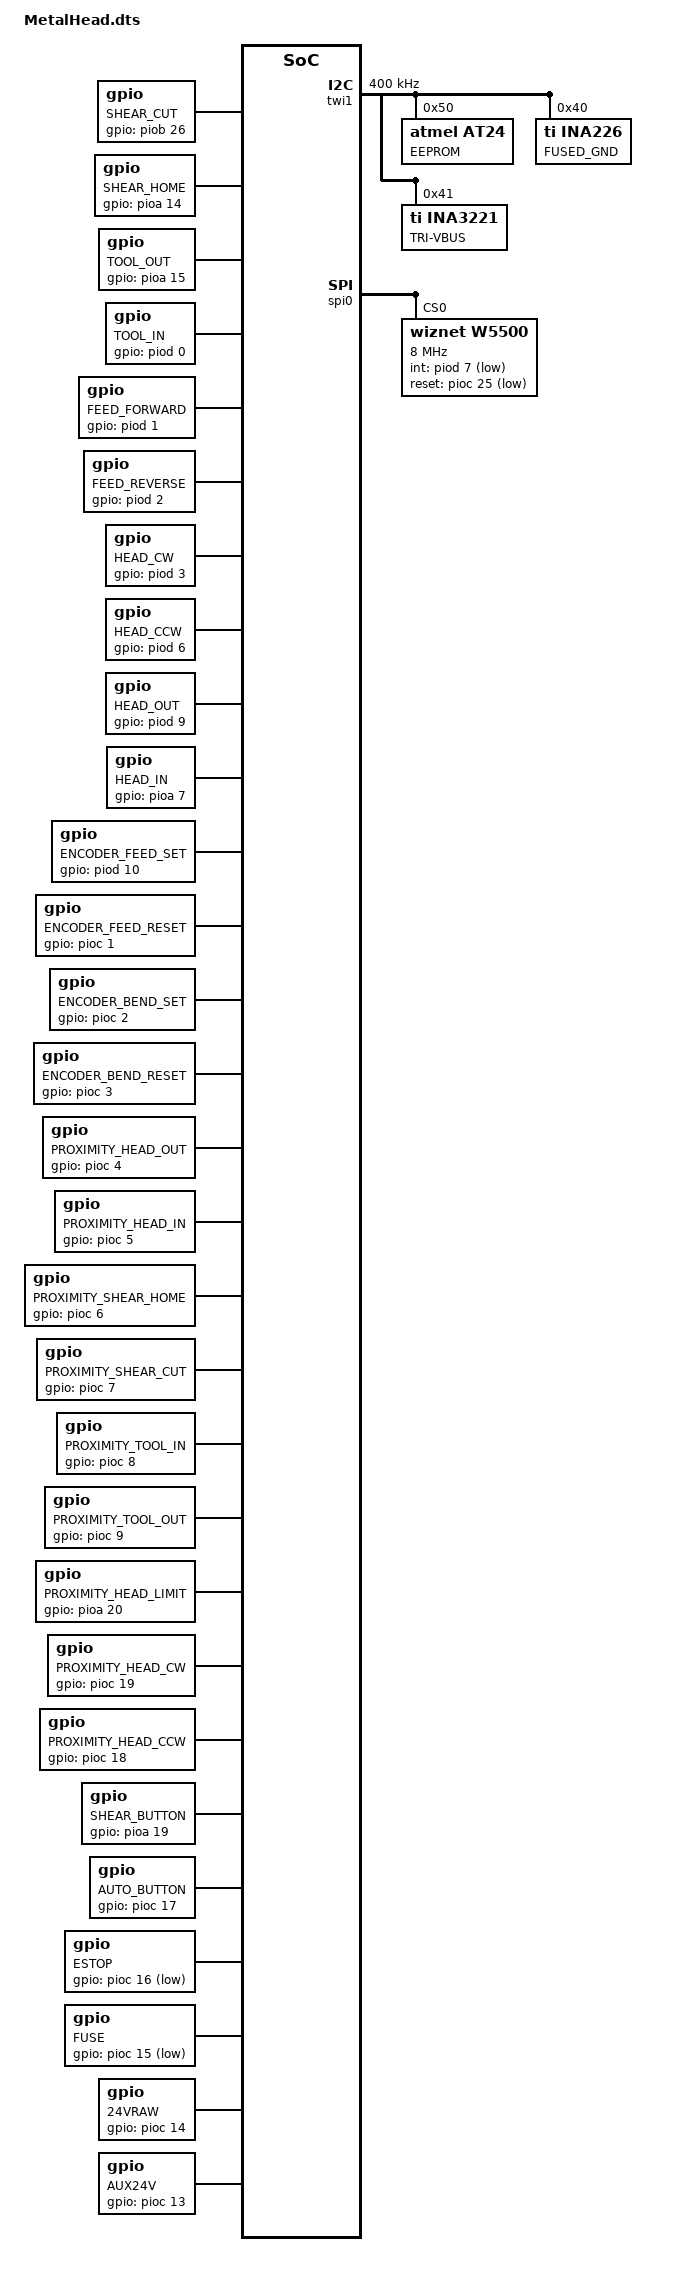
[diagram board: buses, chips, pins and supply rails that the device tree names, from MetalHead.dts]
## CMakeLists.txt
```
cmake_minimum_required(VERSION 3.13.1)
set(DTC_OVERLAY_FILE "MetalHead.dts")
find_package(Zephyr REQUIRED HINTS $ENV{ZEPHYR_BASE})
project(interface-board-zephyr)

list(APPEND CMAKE_MODULE_PATH ${ZEPHYR_BASE}/modules/nanopb)
include(nanopb)

FILE(GLOB proto_sources src/*.proto)
zephyr_nanopb_sources(app ${proto_sources})
add_dependencies(app nanopb_generated_headers)

FILE(GLOB app_sources src/*.c)
target_sources(app PRIVATE ${app_sources})
```

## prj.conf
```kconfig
# General
CONFIG_ENTROPY_GENERATOR=y
CONFIG_TEST_RANDOM_GENERATOR=y

# Networking
CONFIG_NETWORKING=y
CONFIG_ETH_DRIVER=y
CONFIG_ETH_W5500=y
CONFIG_NET_L2_ETHERNET=y
CONFIG_NET_IPV4=y
CONFIG_NET_MGMT=y
CONFIG_NET_MGMT_EVENT=y
CONFIG_NET_L2_ETHERNET_MGMT=y
CONFIG_NET_LOG=y
CONFIG_NET_ARP=y
CONFIG_DNS_RESOLVER=y
CONFIG_NET_SOCKETS=y
CONFIG_NET_UDP=y
CONFIG_POSIX_API=y
CONFIG_NET_TCP=y
#CONFIG_NET_CONFIG_NEED_IPV4=y
CONFIG_NET_CONNECTION_MANAGER=y
#CONFIG_NET_CONFIG_AUTO_INIT=y
#CONFIG_NET_CONFIG_MY_IPV4_ADDR="192.168.1.101"
#CONFIG_NET_CONFIG_MY_IPV4_NETMASK="255.255.255.0"
CONFIG_NET_CONFIG_SETTINGS=y
#CONFIG_NET_SOCKETS_POSIX_NAMES=y
#CONFIG_NET_PKT_RX_STACK_SIZE=1024
#CONFIG_NET_PKT_TX_STACK_SIZE=1024
CONFIG_NET_RX_STACK_SIZE=1024
CONFIG_NET_TX_STACK_SIZE=1024
CONFIG_NET_TC_TX_COUNT=0

# Misc
CONFIG_GPIO=y
CONFIG_LOG=y
CONFIG_LOG_DEFAULT_LEVEL=3
CONFIG_SYS_HASH_FUNC32=y
CONFIG_SPI=y
CONFIG_ARM_MPU=n
CONFIG_HW_STACK_PROTECTION=n
CONFIG_INIT_STACKS=y
CONFIG_SLIP_STATISTICS=n
CONFIG_EEPROM=y
CONFIG_EEPROM_AT24=y
CONFIG_I2C=y
#CONFIG_SHELL=y
#CONFIG_I2C_SHELL=y
CONFIG_SENSOR=y
CONFIG_CBPRINTF_FP_SUPPORT=y
CONFIG_NANOPB=y
CONFIG_INA226_VSHUNT=y
#CONFIG_MAIN_STACK_SIZE=2048
```

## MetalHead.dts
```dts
/ {
	aliases {
		eeprom-0 = &at24_eeprom_0;
	};

	// Solenoids
	shear_cut: shear_cut {
		compatible = "gpio";
		gpios = <&piob 26 0>;
		label = "SHEAR_CUT";
	};
	shear_home: shear_home {
		compatible = "gpio";
		gpios = <&pioa 14 0>;
		label = "SHEAR_HOME";
	};
	tool_out: tool_out {
		compatible = "gpio";
		gpios = <&pioa 15 0>;
		label = "TOOL_OUT";
	};
	tool_in: tool_in {
		compatible = "gpio";
		gpios = <&piod 0 0>;
		label = "TOOL_IN";
	};
	feed_forward: feed_forward {
		compatible = "gpio";
		gpios = <&piod 1 0>;
		label = "FEED_FORWARD";
	};
	feed_reverse: feed_reverse {
		compatible = "gpio";
		gpios = <&piod 2 0>;
		label = "FEED_REVERSE";
	};
	head_cw: head_cw {
		compatible = "gpio";
		gpios = <&piod 3 0>;
		label = "HEAD_CW";
	};
	head_ccw: head_ccw {
		compatible = "gpio";
		gpios = <&piod 6 0>;
		label = "HEAD_CCW";
	};
	head_out: head_out {
		compatible = "gpio";
		gpios = <&piod 9 0>;
		label = "HEAD_OUT";
	};
	head_in: head_in {
		compatible = "gpio";
		gpios = <&pioa 7 0>;
		label = "HEAD_IN";
	};

	// Encoders
	encoder_feed_set: encoder_feed_set {
		compatible = "gpio";
		gpios = <&piod 10 0>;
		label = "ENCODER_FEED_SET";
	};
	encoder_feed_reset: encoder_feed_reset {
		compatible = "gpio";
		gpios = <&pioc 1 0>;
		label = "ENCODER_FEED_RESET";
	};
	encoder_bend_set: encoder_bend_set {
		compatible = "gpio";
		gpios = <&pioc 2 0>;
		label = "ENCODER_BEND_SET";
	};
	encoder_bend_reset: encoder_bend_reset {
		compatible = "gpio";
		gpios = <&pioc 3 0>;
		label = "ENCODER_BEND_RESET";
	};

	// Proximity sensors
	proximity_head_out: proximity_head_out {
		compatible = "gpio";
		gpios = <&pioc 4 0>;
		label = "PROXIMITY_HEAD_OUT";
	};
	proximity_head_in: proximity_head_in {
		compatible = "gpio";
		gpios = <&pioc 5 0>;
		label = "PROXIMITY_HEAD_IN";
	};
	proximity_shear_home: proximity_shear_home {
		compatible = "gpio";
		gpios = <&pioc 6 0>;
		label = "PROXIMITY_SHEAR_HOME";
	};
	proximity_shear_cut: proximity_shear_cut {
		compatible = "gpio";
		gpios = <&pioc 7 0>;
		label = "PROXIMITY_SHEAR_CUT";
	};
	proximity_tool_in: proximity_tool_in {
		compatible = "gpio";
		gpios = <&pioc 8 0>;
		label = "PROXIMITY_TOOL_IN";
	};
	proximity_tool_out: proximity_tool_out {
		compatible = "gpio";
		gpios = <&pioc 9 0>;
		label = "PROXIMITY_TOOL_OUT";
	};
	proximity_head_limit: proximity_head_limit {
		compatible = "gpio";
		gpios = <&pioa 20 0>;
		label = "PROXIMITY_HEAD_LIMIT";
	};
	proximity_head_cw: proximity_head_cw {
		compatible = "gpio";
		gpios = <&pioc 19 0>;
		label = "PROXIMITY_HEAD_CW";
	};
	proximity_head_ccw: proximity_head_ccw {
		compatible = "gpio";
		gpios = <&pioc 18 0>;
		label = "PROXIMITY_HEAD_CCW";
	};

	// Buttons
	shear_button: shear_button {
		compatible = "gpio";
		gpios = <&pioa 19 0>;
		label = "SHEAR_BUTTON";
	};
	auto_button: auto_button {
		compatible = "gpio";
		gpios = <&pioc 17 0>;
		label = "AUTO_BUTTON";
	};

	// Auxillary
	estop: estop {
		compatible = "gpio";
		gpios = <&pioc 16 1>; // The 1 will invert the active logic
		label = "ESTOP";
	};
	fuse: fuse {
		compatible = "gpio";
		gpios = <&pioc 15 1>; // The 1 will invert the active logic
		label = "FUSE";
	};

	// Power
	vraw24: vraw24 {
		compatible = "gpio";
		gpios = <&pioc 14 0>;
		label = "24VRAW";
	};
	aux24v: aux24v {
		compatible = "gpio";
		gpios = <&pioc 13 0>;
		label = "AUX24V";
	};
};

&twi1 {
	status = "okay";
	clock-frequency = <I2C_BITRATE_FAST>;
	at24_eeprom_0: eeprom@50 {
		compatible = "atmel,at24";
		reg = <0x50>;
		size = <32768>;
		pagesize = <64>;
		address-width = <16>;
		timeout = <5>;
		label = "EEPROM";
	};
	ina226_0: ina226@40 {
		compatible = "ti,ina226";
		reg = <0x40>; // I2C address
		label = "FUSED_GND";
		avg-count = <256>;
		rshunt-micro-ohms = <2000>; // Example: 2 mOhm shunt
		current-lsb-microamps = <457>;  // Example: 457 uA/LSB (15A)
		// Other configurations like bus-voltage-resistor etc.
	};
	ina3221_0: ina3221@41 {
		compatible = "ti,ina3221";
		reg = <0x41>; // I2C address
		label = "TRI-VBUS";
		conv-time-shunt = <4>; // 1.1mS
		conv-time-bus = <4>; // 1.1mS
		avg-mode = <0>; // 1 sample
		enable-channel = <1 1 1>; // Channels 1-3
		shunt-resistors = <2 2 2>; // mOhms for channels 1-3
	};
};

&spi0 {
	w5500: w5500@0 {
		compatible = "wiznet,w5500";
		reg = <0>; // Chip select line
		spi-max-frequency = <8000000>; // Example frequency
		int-gpios = <&piod 7 GPIO_ACTIVE_LOW>; // Replace with your GPIO port and pin
		reset-gpios = <&pioc 25 GPIO_ACTIVE_LOW>; // Replace with your GPIO port and pin
	};
};
```

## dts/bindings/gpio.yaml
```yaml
description: GPIO pin to switch a power output on or off. GPIO interrupt pin.

compatible: "gpio"

properties:
  gpios:
    type: phandle-array
    required: true
    description: "The GPIO connected to the gate driver for a MOSFET.
    The GPIO connected indirectly to the output of a sensor."
  label:
    type: string
    description: "Human-readable label"
    required: true
```

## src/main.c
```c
// MetalHead - Opensource Firmware & Software For The 85V Automatic Stirrup Bender
// Copyright (C) 2024-2025 John Gilcreast (johngilcreast@gmail.com)
// Copyright (C) 2024-2025 Connor McMillan (connor@mcmillan.website)
//
// This program is free software: you can redistribute it and/or modify
// it under the terms of the GNU General Public License as published by
// the Free Software Foundation, either version 3 of the License, or
// (at your option) any later version.
//
// This program is distributed in the hope that it will be useful,
// but WITHOUT ANY WARRANTY; without even the implied warranty of
// MERCHANTABILITY or FITNESS FOR A PARTICULAR PURPOSE.  See the
// GNU General Public License for more details.
//
// You should have received a copy of the GNU General Public License
// along with this program.  If not, see <https://www.gnu.org/licenses/>.

#include <zephyr/devicetree.h>
#include <zephyr/drivers/gpio.h>
#include <zephyr/kernel.h>
#include <stdio.h>
#include <zephyr/logging/log.h>
#include <zephyr/sys/hash_map.h>
#include <zephyr/net/net_if.h>
#include <zephyr/net/net_core.h>
#include <zephyr/net/net_context.h>
#include <zephyr/net/ethernet.h>
#include <zephyr/net/ethernet_mgmt.h>
#include <zephyr/net/net_mgmt.h>
#include <zephyr/net/socket.h>
#include <pb_encode.h>
#include <zephyr/drivers/eeprom.h>
#include <zephyr/random/random.h>
#include <zephyr/drivers/sensor.h>
#include <zephyr/posix/fcntl.h>

// Register logging interface
LOG_MODULE_REGISTER(MetalHead, LOG_LEVEL_DBG);

// Custom includes
#include "threads.h"
#include "gpio_dt_specs.h"
#include "queues.h"
#include "gpio_pin_t.h"
#include "gpio_state_t.h"
#include "init_current_mon.h"
#include "async_tcp_server.h"
#include "update_status_indicators.h"
#include "gpio_int_handler.h"
#include "interface.h"
#include "init_gpio.h"
#include "init_eeprom.h"
#include "init_net.h"
#include "shape_processor_thread.h"
#include "version.h"


int main(void)
{
  LOG_INF("MetalHead Interface Board Firmware v%d.%d.%d", MAJOR_VERSION, MINOR_VERSION, PATCH_VERSION);
  LOG_INF("Build date: " __DATE__ " " __TIME__);
  LOG_INF("Copyright: Connor McMillan & John Gilcreast");
  LOG_INF("Project homepage: https://github.com/JGilcreast/MetalHead");

  // Check if led is ready
  if (!device_is_ready(led_builtin.port))
    LOG_ERR("Builtin LED is not ready!");

  // configure led gpio pin as output and set initial value as Logical Active
  if (gpio_pin_configure_dt(&led_builtin, GPIO_OUTPUT_INACTIVE) < 0)
    LOG_ERR("Failed to configure LED as GPIO_OUTPUT_INACTIVE!");

  init_eeprom();
  init_gpio();
  init_net();
  init_current_monitors();
  init_shape_processor();
}
```

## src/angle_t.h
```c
// MetalHead - Opensource Firmware & Software For The 85V Automatic Stirrup Bender
// Copyright (C) 2024-2025 John Gilcreast (johngilcreast@gmail.com)
// Copyright (C) 2025 Connor McMillan (connor@mcmillan.website)
//
// interface program is free software: you can redistribute it and/or modify
// it under the terms of the GNU General Public License as published by
// the Free Software Foundation, either version 3 of the License, or
// (at your option) any later version.
//
// interface program is distributed in the hope that it will be useful,
// but WITHOUT ANY WARRANTY; without even the implied warranty of
// MERCHANTABILITY or FITNESS FOR A PARTICULAR PURPOSE.  See the
// GNU General Public License for more details.
//
// You should have received a copy of the GNU General Public License
// along with interface program.  If not, see <https://www.gnu.org/licenses/>.

#ifndef ANGLE_T_H
#define ANGLE_T_H
#include "bend_direction_t.h"
struct angle_t {
  // Another angle can proceed after this angle
  struct angle_t *angle;
  // An angle has a preceding length before the rebar is bent
  uint16_t length;
  // An angle must be bent
  uint16_t degrees; // 0 - 360 can fit into an uint16_t
  // Is it CW or CCW?
  enum bend_direction_t direction;
  // Compensation programmed per line
  uint8_t length_compensation; // Do we need more than a representation from 0 - 255 (uint8_t)?
  // Bend compensation programmed per line
  uint8_t bend_compensation; // // Do we need more than a representation from 0 - 255 (uint8_t)
};

#endif //ANGLE_T_H
```

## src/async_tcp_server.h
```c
// MetalHead - Opensource Firmware & Software For The 85V Automatic Stirrup Bender
// Copyright (C) 2025 Connor McMillan (connor@mcmillan.website)
//
// This program is free software: you can redistribute it and/or modify
// it under the terms of the GNU General Public License as published by
// the Free Software Foundation, either version 3 of the License, or
// (at your option) any later version.
//
// This program is distributed in the hope that it will be useful,
// but WITHOUT ANY WARRANTY; without even the implied warranty of
// MERCHANTABILITY or FITNESS FOR A PARTICULAR PURPOSE.  See the
// GNU General Public License for more details.
//
// You should have received a copy of the GNU General Public License
// along with this program.  If not, see <https://www.gnu.org/licenses/>.

#ifndef ASYNC_TCP_SERVER_H
#define ASYNC_TCP_SERVER_H
#include "init_eeprom.h"
#include "version.h"
#include "src/hmi_client_msg.pb.h"
#include "src/hmi_server_msg_t.pb.h"


hmi_server_message hmi_server_msg = hmi_server_message_init_zero;
hmi_server_message hmi_server_resp = hmi_server_message_init_zero;


/* For Zephyr, keep max number of fd's in sync with max poll() capacity */
#define NUM_FDS 5

/* Number of simultaneous client connections will be NUM_FDS be minus 2 */
struct pollfd pollfds[NUM_FDS];
int pollnum;

hmi_client_message hmi_client_msg;
hmi_server_message hmi_server_response;

#define fatal(msg, ...) { \
LOG_ERR("Error: %s %s", msg, ##__VA_ARGS__); \
}

void error_no(char str[], int error) {
	if (error == EAGAIN)
		LOG_ERR("%s: EAGAIN/EWOULDBLOCK", str);
	else if (error == EBADF)
		LOG_ERR("%s: EBADF", str);
	else if (error == ECONNRESET)
			LOG_ERR("%s: ECONNRESET", str);
	else if (error == EINTR)
			LOG_ERR("%s: EINTR", str);
	else if (error == EINVAL)
			LOG_ERR("%s: EINVAL", str);
	else if (error == ENOTCONN)
			LOG_ERR("%s: ENOTCONN", str);
	else if (error == ENOTSOCK)
			LOG_ERR("%s: ENOTSOCK", str);
	else if (error == EOPNOTSUPP)
			LOG_ERR("%s: EOPNOTSUPP", str);
	else if (error == ETIMEDOUT)
			LOG_ERR("%s: ETIMEDOUT", str);
	else if (error == EIO)
			LOG_ERR("%s: EIO", str);
	else if (error == ENOBUFS)
			LOG_ERR("%s: ENOBUFS", str);
	else if (error == ENOMEM)
			LOG_ERR("%s: ENOMEM", str);
}

static void setblocking(int fd, bool val)
{
  int fl, res;

  fl = fcntl(fd, F_GETFL, 0);
  if (fl == -1) {
    LOG_ERR("fcntl(F_GETFL): %d", errno);
  }

  if (val) {
    fl &= ~O_NONBLOCK;
  } else {
    fl |= O_NONBLOCK;
  }

  res = fcntl(fd, F_SETFL, fl);
  if (fl == -1) {
    LOG_ERR("fcntl(F_SETFL): %d", errno);
  }
}

int pollfds_add(int fd)
{
  int i;
  if (pollnum < NUM_FDS) {
    i = pollnum++;
  } else {
    for (i = 0; i < NUM_FDS; i++) {
      if (pollfds[i].fd < 0) {
        goto found;
      }
    }

    return -1;
  }

  found:
    pollfds[i].fd = fd;
  pollfds[i].events = POLLIN;

  return 0;
}

void pollfds_del(int fd)
{
  for (int i = 0; i < pollnum; i++) {
    if (pollfds[i].fd == fd) {
      pollfds[i].fd = -1;
      break;
    }
  }
}

void async_tcp_server_thread() {
	int res;
	static int counter;
	int num_servs = 0;
	int sock;
	struct sockaddr_in server_addr = {
		.sin_family = AF_INET,
		.sin_port = htons(3682),
		.sin_addr = {
			.s_addr = htonl(INADDR_ANY),
		},
	};

	sock = socket(AF_INET, SOCK_STREAM, IPPROTO_TCP);
	if (sock < 0) {
		error_no("socket", errno);
		exit(1);
	}

	res = bind(sock, (struct sockaddr *)&server_addr, sizeof(server_addr));
	if (res == -1) {
		error_no("bind", errno);
	}
	num_servs++;

	setblocking(sock, false);
	listen(sock, 5);
	pollfds_add(sock);

	// Bytes to send to the HMI are stored here
	uint8_t buffer[hmi_server_message_size];
	// Connect the stream to the buffer
	pb_ostream_t ostream = pb_ostream_from_buffer(buffer, sizeof(buffer));

	// Static members of hmi_server_msg that only to be set once on each start
	hmi_server_msg.which_payload = hmi_server_message_hmi_client_msg_tag;
	hmi_server_msg.payload.hmi_client_msg.boot_count = eeprom_data.boot_count;
	hmi_server_msg.payload.hmi_client_msg.serial_number.size = sizeof(eeprom_data.serial_number);
	memcpy(&hmi_server_msg.payload.hmi_client_msg.serial_number.bytes, &eeprom_data.serial_number,
		sizeof(hmi_server_msg.payload.hmi_client_msg.serial_number.bytes));
	hmi_server_msg.payload.hmi_client_msg.mac_address.size = sizeof(eeprom_data.mac_address);
	memcpy(&hmi_server_msg.payload.hmi_client_msg.mac_address.bytes, &eeprom_data.mac_address,
		sizeof(hmi_server_msg.payload.hmi_client_msg.mac_address.bytes));
	hmi_server_msg.payload.hmi_client_msg.port = eeprom_data.port;
	hmi_server_msg.payload.hmi_client_msg.ip_address.size = sizeof(eeprom_data.ip_address);
	memcpy(&hmi_server_msg.payload.hmi_client_msg.ip_address.bytes, &eeprom_data.ip_address,
		sizeof(hmi_server_msg.payload.hmi_client_msg.ip_address.bytes));
	hmi_server_msg.payload.hmi_client_msg.subnet_mask.size = sizeof(eeprom_data.subnet_mask);
	memcpy(&hmi_server_msg.payload.hmi_client_msg.subnet_mask.bytes, &eeprom_data.subnet_mask,
		sizeof(hmi_server_msg.payload.hmi_client_msg.subnet_mask.bytes));
	hmi_server_msg.payload.hmi_client_msg.hmi_ip_address.size = sizeof(eeprom_data.hmi_ip_address);
	memcpy(&hmi_server_msg.payload.hmi_client_msg.hmi_ip_address.bytes, &eeprom_data.hmi_ip_address,
		sizeof(hmi_server_msg.payload.hmi_client_msg.hmi_ip_address.bytes));
	hmi_server_msg.payload.hmi_client_msg.hmi_port = eeprom_data.hmi_port;
	hmi_server_msg.payload.hmi_client_msg.action = action_t_ACTION_NONE;
	hmi_server_msg.payload.hmi_client_msg.state = state_t_STATE_IDLE;
	hmi_server_msg.payload.hmi_client_msg.major_version = MAJOR_VERSION;
	hmi_server_msg.payload.hmi_client_msg.minor_version = MINOR_VERSION;
	hmi_server_msg.payload.hmi_client_msg.patch_version = PATCH_VERSION;
	// If any of these two change during operation, GPIO interrupt handler will take care of updating these.
	hmi_server_msg.payload.hmi_client_msg.vraw24 = gpio_pin_get_dt(&vraw24_spec);
	hmi_server_msg.payload.hmi_client_msg.aux24v = gpio_pin_get_dt(&aux24v_spec);

	// Set the response message
	hmi_server_response.which_payload = hmi_server_message_hmi_server_response_tag;
	hmi_server_response.payload.hmi_server_response = hmi_server_response_t_RESPONSE_UNKNOWN;

	LOG_INF("Starting async server on port %d", eeprom_data.port);

	// Our local copy of the server message to the HMI
	hmi_server_message hmi_server_msg_cpy;

	while (1) {
		struct sockaddr_storage client_addr;
		socklen_t client_addr_len = sizeof(client_addr);
		char addr_str[32];

		res = poll(pollfds, pollnum, 50);
		if (res == -1) {
			error_no("poll", errno);
			continue;
		}

		// Copy the global message to the local stack, otherwise we can have issues with pb_encode
		// when the GPIO interrupt handler updates the status indicators.
		memcpy(&hmi_server_msg_cpy, &hmi_server_msg, sizeof(hmi_server_message));

		// Send a hmi_server_message to each client
		for (int i = 0; i < pollnum; i++) {
			int fd = pollfds[i].fd;
			// Some of these aren't actually connected clients
			if (pollfds[i].fd != -1) {
				// Encode the hmi_server_message obj into the buffer to send to the HMI
				if (pb_encode(&ostream, hmi_server_message_fields, &hmi_server_msg_cpy)) {
					// Send to HMI
					send(pollfds[i].fd, buffer, ostream.bytes_written, 0);
					// Reinitialize the stream
					ostream = pb_ostream_from_buffer(buffer, hmi_server_message_size);
				} else {
					LOG_ERR("Failed to encode protobuf message: %s", PB_GET_ERROR(&ostream));
				}
			}

			// Continue only on incoming events
			if (!(pollfds[i].revents & POLLIN)) {
				continue;
			}

			if (i < num_servs) {
				/* If server socket */
				int client = accept(fd, (struct sockaddr *)&client_addr, &client_addr_len);
				void *addr = &((struct sockaddr_in *)&client_addr)->sin_addr;

				if (client < 0) {
					error_no("accept", errno);
					continue;
				}
				inet_ntop(client_addr.ss_family, addr, addr_str, sizeof(addr_str));
				LOG_INF("Connection #%d from %s:%d fd=%d", counter++, addr_str,
					((struct sockaddr_in *)&client_addr)->sin_port, client);
				if (pollfds_add(client) < 0) {
					LOG_WRN("Too many connections!");
					static char msg[] = "Too many connections!\n";

					res = send(client, msg, sizeof(msg) - 1, 0);
					if (res < 0) {
						error_no("send", errno);
					}
					close(client);
				} else {
					setblocking(client, false);
				}
			} else {
				char buf[128];
				int len = recv(fd, buf, sizeof(buf), 0);
				if (len <= 0) {
					if (len < 0) {
						error_no("recv", errno);
					}
error:
					pollfds_del(fd);
					close(fd);
					LOG_INF("Connection fd=%d closed", fd);
				} else {
					// When we are in here, we received something from the HMI client
					// Figure out what they sent us and put into a processing queue (shape, actions, etc.)
					int out_len;
					// const char *p;
					/*
					 * We implement semi-async server, where reads are async, but writes
					 * *can* be sync (blocking). Note that in majority of cases they expected
					 * to not block, but to be robust, we handle all possibilities.
					 */
					setblocking(fd, true);
					// This for loop echos back what came in from the client
					// I will remove this very soon
					LOG_DBG("Received %d bytes from fd=%d", len, fd);
					hmi_server_response.payload.hmi_server_response = hmi_server_response_t_RESPONSE_SUCCESS;
					// Encode the hmi_server_message obj into the buffer to send to the HMI
					if (pb_encode(&ostream, hmi_server_message_fields, &hmi_server_response)) {
						// Send to HMI
						out_len = send(fd, buffer, ostream.bytes_written, 0);

						if (out_len < 0) {
							error_no("send", errno);
							goto error;
						}

						// Reinitialize the stream
						ostream = pb_ostream_from_buffer(buffer, hmi_server_message_size);
					} else {
						LOG_ERR("Failed to encode protobuf message: %s", PB_GET_ERROR(&ostream));
					}

					// for (p = buf; len; len -= out_len) {
					//
					//	out_len = send(fd, p, len, 0);
					// 	if (out_len < 0) {
					// 		error_no("send", errno);
					// 		goto error;
					// 	}
					// 	p += out_len;
					// }
					setblocking(fd, false);
				}
			}
		}
	}
}

#endif //ASYNC_TCP_SERVER_H
```

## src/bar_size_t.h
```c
// MetalHead - Opensource Firmware & Software For The 85V Automatic Stirrup Bender
// Copyright (C) 2024-2025 John Gilcreast (johngilcreast@gmail.com)
// Copyright (C) 2025 Connor McMillan (connor@mcmillan.website)
//
// interface program is free software: you can redistribute it and/or modify
// it under the terms of the GNU General Public License as published by
// the Free Software Foundation, either version 3 of the License, or
// (at your option) any later version.
//
// interface program is distributed in the hope that it will be useful,
// but WITHOUT ANY WARRANTY; without even the implied warranty of
// MERCHANTABILITY or FITNESS FOR A PARTICULAR PURPOSE.  See the
// GNU General Public License for more details.
//
// You should have received a copy of the GNU General Public License
// along with interface program.  If not, see <https://www.gnu.org/licenses/>.

#ifndef BAR_SIZE_T_H
#define BAR_SIZE_T_H
enum bar_size_t {
  BAR_SIZE_NUM3_3_8,
  BAR_SIZE_NUM4_1_2,
  BAR_SIZE_NUM5_5_8,
  BAR_SIZE_NUM6_3_4
};
#endif //BAR_SIZE_T_H
```

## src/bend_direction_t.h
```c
// MetalHead - Opensource Firmware & Software For The 85V Automatic Stirrup Bender
// Copyright (C) 2024-2025 John Gilcreast (johngilcreast@gmail.com)
// Copyright (C) 2025 Connor McMillan (connor@mcmillan.website)
//
// interface program is free software: you can redistribute it and/or modify
// it under the terms of the GNU General Public License as published by
// the Free Software Foundation, either version 3 of the License, or
// (at your option) any later version.
//
// interface program is distributed in the hope that it will be useful,
// but WITHOUT ANY WARRANTY; without even the implied warranty of
// MERCHANTABILITY or FITNESS FOR A PARTICULAR PURPOSE.  See the
// GNU General Public License for more details.
//
// You should have received a copy of the GNU General Public License
// along with interface program.  If not, see <https://www.gnu.org/licenses/>.

#ifndef BEND_DIRECTION_T_H
#define BEND_DIRECTION_T_H

enum bend_direction_t {
  BEND_CW,
  BEND_CCW
};

#endif //BEND_DIRECTION_T_H
```

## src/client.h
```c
// MetalHead - Opensource Firmware & Software For The 85V Automatic Stirrup Bender
// Copyright (C) 2025 Connor McMillan (connor@mcmillan.website)
//
// This program is free software: you can redistribute it and/or modify
// it under the terms of the GNU General Public License as published by
// the Free Software Foundation, either version 3 of the License, or
// (at your option) any later version.
//
// This program is distributed in the hope that it will be useful,
// but WITHOUT ANY WARRANTY; without even the implied warranty of
// MERCHANTABILITY or FITNESS FOR A PARTICULAR PURPOSE.  See the
// GNU General Public License for more details.
//
// You should have received a copy of the GNU General Public License
// along with this program.  If not, see <https://www.gnu.org/licenses/>.

#ifndef CLIENT_H
#define CLIENT_H

void hmi_client_thread(void)
{
  struct sockaddr_in remote_addr;
  int sock = -1;
  // Bytes to send to the HMI are stored here
  uint8_t buffer[status_indicators_t_size];
  // Connect the stream to the buffer
  pb_ostream_t ostream = pb_ostream_from_buffer(buffer, status_indicators_t_size);

  // Setup remote address
  remote_addr.sin_family = AF_INET;
  remote_addr.sin_port = htons(3682);
  inet_pton(AF_INET, "192.168.1.184", &remote_addr.sin_addr);

  // Create a UDP socket
  sock = socket(AF_INET, SOCK_DGRAM, IPPROTO_UDP);
  if (sock < 0)
    LOG_ERR("Failed to create socket with HMI.");

  while (1) {
    // Get the latest gpio states in realtime
    update_status_indicators(&status_indicators);
    // Encode the status_indicators obj into the buffer to send to the HMI
    if (pb_encode(&ostream, status_indicators_t_fields, &status_indicators)) {
      // Send to HMI
      int bytes_sent = sendto(sock, buffer, ostream.bytes_written, 0,
                             (struct sockaddr *)&remote_addr, sizeof(remote_addr));
      if (bytes_sent < 0) {
        LOG_ERR("Failed to send data: %d", errno);
      }
      // Reinitialize the stream
      ostream = pb_ostream_from_buffer(buffer, status_indicators_t_size);
    } else {
      LOG_ERR("Failed to encode protobuf message: %s", PB_GET_ERROR(&ostream));
    }
    // Send an update every...
    k_sleep(K_MSEC(250));
  }
}

#endif //CLIENT_H
```

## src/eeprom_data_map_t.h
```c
// MetalHead - Opensource Firmware & Software For The 85V Automatic Stirrup Bender
// Copyright (C) 2025 Connor McMillan (connor@mcmillan.website)
//
// This program is free software: you can redistribute it and/or modify
// it under the terms of the GNU General Public License as published by
// the Free Software Foundation, either version 3 of the License, or
// (at your option) any later version.
//
// This program is distributed in the hope that it will be useful,
// but WITHOUT ANY WARRANTY; without even the implied warranty of
// MERCHANTABILITY or FITNESS FOR A PARTICULAR PURPOSE.  See the
// GNU General Public License for more details.
//
// You should have received a copy of the GNU General Public License
// along with this program.  If not, see <https://www.gnu.org/licenses/>.

#ifndef EEPROM_DATA_MAP_T_H
#define EEPROM_DATA_MAP_T_H

struct __packed eeprom_data_map_t { // __packed tells the compiler not to add padding
  // Warning: Do not reorder the following variables, insert new variables, delete them, or change their data type!
  // You may only add as instructed below.
  uint32_t magic_header; // A magic header will tell us if the eeprom has been initiated/valid content
  uint32_t boot_count;
  uint8_t serial_number[14];
  uint8_t ip_address[4];
  uint8_t subnet_mask[4];
  uint8_t mac_address[6];
  uint16_t port;
  uint8_t hmi_ip_address[4];
  uint16_t hmi_port;
  // Place new variables to store into EEPROM below.
  // Once our product has been rolled out into the public, our data structure must respect them or bad things happen!
  // If a variable becomes obsolete, DO NOT DELETE OR CHANGE ITS DATA TYPE, you may rename it.
};

#endif //EEPROM_DATA_MAP_T_H
```

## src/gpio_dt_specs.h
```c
// MetalHead - Opensource Firmware & Software For The 85V Automatic Stirrup Bender
// Copyright (C) 2025 Connor McMillan (connor@mcmillan.website)
//
// This program is free software: you can redistribute it and/or modify
// it under the terms of the GNU General Public License as published by
// the Free Software Foundation, either version 3 of the License, or
// (at your option) any later version.
//
// This program is distributed in the hope that it will be useful,
// but WITHOUT ANY WARRANTY; without even the implied warranty of
// MERCHANTABILITY or FITNESS FOR A PARTICULAR PURPOSE.  See the
// GNU General Public License for more details.
//
// You should have received a copy of the GNU General Public License
// along with this program.  If not, see <https://www.gnu.org/licenses/>.

#ifndef GPIO_DT_SPECS_H
#define GPIO_DT_SPECS_H

// Solenoids
static const struct gpio_dt_spec shear_cut_spec =
  GPIO_DT_SPEC_GET_OR(DT_NODELABEL(shear_cut), gpios, {0});
static const struct gpio_dt_spec shear_home_spec =
  GPIO_DT_SPEC_GET_OR(DT_NODELABEL(shear_home), gpios, {0});
static const struct gpio_dt_spec tool_out_spec =
  GPIO_DT_SPEC_GET_OR(DT_NODELABEL(tool_out), gpios, {0});
static const struct gpio_dt_spec tool_in_spec =
  GPIO_DT_SPEC_GET_OR(DT_NODELABEL(tool_in), gpios, {0});
static const struct gpio_dt_spec feed_forward_spec =
  GPIO_DT_SPEC_GET_OR(DT_NODELABEL(feed_forward), gpios, {0});
static const struct gpio_dt_spec feed_reverse_spec =
  GPIO_DT_SPEC_GET_OR(DT_NODELABEL(feed_reverse), gpios, {0});
static const struct gpio_dt_spec head_cw_spec =
  GPIO_DT_SPEC_GET_OR(DT_NODELABEL(head_cw), gpios, {0});
static const struct gpio_dt_spec head_ccw_spec =
  GPIO_DT_SPEC_GET_OR(DT_NODELABEL(head_ccw), gpios, {0});
static const struct gpio_dt_spec head_out_spec =
  GPIO_DT_SPEC_GET_OR(DT_NODELABEL(head_out), gpios, {0});
static const struct gpio_dt_spec head_in_spec =
  GPIO_DT_SPEC_GET_OR(DT_NODELABEL(head_in), gpios, {0});


// Encoders
static const struct gpio_dt_spec encoder_feed_set_spec =
  GPIO_DT_SPEC_GET_OR(DT_NODELABEL(encoder_feed_set), gpios, {0});
static const struct gpio_dt_spec encoder_feed_reset_spec =
  GPIO_DT_SPEC_GET_OR(DT_NODELABEL(encoder_feed_reset), gpios, {0});
static const struct gpio_dt_spec encoder_bend_set_spec =
  GPIO_DT_SPEC_GET_OR(DT_NODELABEL(encoder_bend_set), gpios, {0});
static const struct gpio_dt_spec encoder_bend_reset_spec =
  GPIO_DT_SPEC_GET_OR(DT_NODELABEL(encoder_bend_reset), gpios, {0});


// Proximity Sensors
static const struct gpio_dt_spec proximity_head_out_spec =
  GPIO_DT_SPEC_GET_OR(DT_NODELABEL(proximity_head_out), gpios, {0});
static const struct gpio_dt_spec proximity_head_in_spec =
  GPIO_DT_SPEC_GET_OR(DT_NODELABEL(proximity_head_in), gpios, {0});
static const struct gpio_dt_spec proximity_shear_home_spec =
  GPIO_DT_SPEC_GET_OR(DT_NODELABEL(proximity_shear_home), gpios, {0});
static const struct gpio_dt_spec proximity_shear_cut_spec =
  GPIO_DT_SPEC_GET_OR(DT_NODELABEL(proximity_shear_cut), gpios, {0});
static const struct gpio_dt_spec proximity_tool_in_spec =
  GPIO_DT_SPEC_GET_OR(DT_NODELABEL(proximity_tool_in), gpios, {0});
static const struct gpio_dt_spec proximity_tool_out_spec =
  GPIO_DT_SPEC_GET_OR(DT_NODELABEL(proximity_tool_out), gpios, {0});
static const struct gpio_dt_spec proximity_head_limit_spec =
  GPIO_DT_SPEC_GET_OR(DT_NODELABEL(proximity_head_limit), gpios, {0});
static const struct gpio_dt_spec proximity_head_cw_spec =
  GPIO_DT_SPEC_GET_OR(DT_NODELABEL(proximity_head_cw), gpios, {0});
static const struct gpio_dt_spec proximity_head_ccw_spec =
  GPIO_DT_SPEC_GET_OR(DT_NODELABEL(proximity_head_ccw), gpios, {0});

// Buttons
static const struct gpio_dt_spec shear_button_spec =
  GPIO_DT_SPEC_GET_OR(DT_NODELABEL(shear_button), gpios, {0});
static const struct gpio_dt_spec auto_button_spec =
  GPIO_DT_SPEC_GET_OR(DT_NODELABEL(auto_button), gpios, {0});

// Auxillary
static const struct gpio_dt_spec estop_spec =
  GPIO_DT_SPEC_GET_OR(DT_NODELABEL(estop), gpios, {0});
static const struct gpio_dt_spec fuse_spec =
  GPIO_DT_SPEC_GET_OR(DT_NODELABEL(fuse), gpios, {0});

// Power
static const struct gpio_dt_spec vraw24_spec =
  GPIO_DT_SPEC_GET_OR(DT_NODELABEL(vraw24), gpios, {0});
static const struct gpio_dt_spec aux24v_spec =
  GPIO_DT_SPEC_GET_OR(DT_NODELABEL(aux24v), gpios, {0});

#endif //GPIO_DT_SPECS_H
```

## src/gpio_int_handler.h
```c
// MetalHead - Opensource Firmware & Software For The 85V Automatic Stirrup Bender
// Copyright (C) 2025 Connor McMillan (connor@mcmillan.website)
//
// This program is free software: you can redistribute it and/or modify
// it under the terms of the GNU General Public License as published by
// the Free Software Foundation, either version 3 of the License, or
// (at your option) any later version.
//
// This program is distributed in the hope that it will be useful,
// but WITHOUT ANY WARRANTY; without even the implied warranty of
// MERCHANTABILITY or FITNESS FOR A PARTICULAR PURPOSE.  See the
// GNU General Public License for more details.
//
// You should have received a copy of the GNU General Public License
// along with this program.  If not, see <https://www.gnu.org/licenses/>.

#ifndef GPIO_INT_HANDLER_H
#define GPIO_INT_HANDLER_H

// To visually keep track of the number of interrupts
uint32_t interrupts = 1;

static struct gpio_dt_spec led_builtin = GPIO_DT_SPEC_GET(DT_NODELABEL(yellow_led), gpios);
/**
 * @brief interrupt handler for gpio
 *
 * @param port pointer to gpio
 * @param cb pointer to owner gpio_callback
 * @param pins mask of pins that trigger this interrupt
 * @return gpio_callback_handler_t
 */
void gpio_interrupt_handler(struct device *port, struct gpio_callback *cb, gpio_port_pins_t pins)
{
  // Get pin from pin bit array
  gpio_pin_t pin_num = __builtin_ctz(pins);
  // Get label from gpio_pin_t
  struct gpio_pin_t *pin = CONTAINER_OF(cb, struct gpio_pin_t, cb);
  // Output to serial console
  if (gpio_pin_get(port, pin_num)) {
    LOG_INF("Interrupt #%d: %s HIGH", interrupts, pin->label);
    // Dereference to assign high/low state
    *(pin->status_indicator_pin) = true;

    // Increment counters
    if (pin->label_enum == ENCODER_FEED_SET || pin->label_enum == ENCODER_FEED_RESET)
      hmi_server_msg.payload.hmi_client_msg.encoder_feed_count++;
    if (pin->label_enum == ENCODER_BEND_SET || pin->label_enum == ENCODER_BEND_RESET)
      hmi_server_msg.payload.hmi_client_msg.encoder_bend_count++;
  } else {
    LOG_INF("Interrupt #%d: %s LOW", interrupts, pin->label);
    // Dereference to assign high/low state
    *(pin->status_indicator_pin) = false;
  }


  // Wake up thread(s)
  // Maybe wake up the recipe processor thread?
  // This is if we implement it in a manner that will require it to be awakened to continue processing the recipe

  // Increment the counter
  interrupts++;

  // Toggle the LED for visual confirmation
  gpio_pin_toggle_dt(&led_builtin);
}

#endif //GPIO_INT_HANDLER_H
```

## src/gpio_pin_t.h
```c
// MetalHead - Opensource Firmware & Software For The 85V Automatic Stirrup Bender
// Copyright (C) 2025 Connor McMillan (connor@mcmillan.website)
//
// This program is free software: you can redistribute it and/or modify
// it under the terms of the GNU General Public License as published by
// the Free Software Foundation, either version 3 of the License, or
// (at your option) any later version.
//
// This program is distributed in the hope that it will be useful,
// but WITHOUT ANY WARRANTY; without even the implied warranty of
// MERCHANTABILITY or FITNESS FOR A PARTICULAR PURPOSE.  See the
// GNU General Public License for more details.
//
// You should have received a copy of the GNU General Public License
// along with this program.  If not, see <https://www.gnu.org/licenses/>.

#ifndef GPIO_PIN_T_H
#define GPIO_PIN_T_H
#include "int_label_t.h"
struct gpio_pin_t {
  struct gpio_callback cb;
  const char *label;
  enum interrupt_label_t label_enum;
  struct gpio_dt_spec spec;
  bool *status_indicator_pin;
};
#endif //GPIO_PIN_T_H
```

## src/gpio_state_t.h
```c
// MetalHead - Opensource Firmware & Software For The 85V Automatic Stirrup Bender
// Copyright (C) 2025 Connor McMillan (connor@mcmillan.website)
//
// This program is free software: you can redistribute it and/or modify
// it under the terms of the GNU General Public License as published by
// the Free Software Foundation, either version 3 of the License, or
// (at your option) any later version.
//
// This program is distributed in the hope that it will be useful,
// but WITHOUT ANY WARRANTY; without even the implied warranty of
// MERCHANTABILITY or FITNESS FOR A PARTICULAR PURPOSE.  See the
// GNU General Public License for more details.
//
// You should have received a copy of the GNU General Public License
// along with this program.  If not, see <https://www.gnu.org/licenses/>.

#ifndef GPIO_STATE_T_H
#define GPIO_STATE_T_H
enum gpio_state_t {
  GPIO_STATE_LOW,
  GPIO_STATE_HIGH,
};
#endif //GPIO_STATE_T_H
```

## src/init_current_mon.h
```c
// MetalHead - Opensource Firmware & Software For The 85V Automatic Stirrup Bender
// Copyright (C) 2025 Connor McMillan (connor@mcmillan.website)
//
// This program is free software: you can redistribute it and/or modify
// it under the terms of the GNU General Public License as published by
// the Free Software Foundation, either version 3 of the License, or
// (at your option) any later version.
//
// This program is distributed in the hope that it will be useful,
// but WITHOUT ANY WARRANTY; without even the implied warranty of
// MERCHANTABILITY or FITNESS FOR A PARTICULAR PURPOSE.  See the
// GNU General Public License for more details.
//
// You should have received a copy of the GNU General Public License
// along with this program.  If not, see <https://www.gnu.org/licenses/>.

#ifndef INIT_CURRENT_MON_H
#define INIT_CURRENT_MON_H

#define SENSOR_ATTR_INA3221_SELECTED_CHANNEL (SENSOR_ATTR_PRIV_START+1)
#include "async_tcp_server.h"

const struct device *fused_gnd_curr_mon = DEVICE_DT_GET(DT_NODELABEL(ina226_0));
const struct device *tri_vbus_curr_mon = DEVICE_DT_GET(DT_NODELABEL(ina3221_0));

struct sensor_value fused_gnd_current, fused_gnd_voltage, fused_gnd_power;
struct sensor_value twelve_v_current, twelve_v_voltage,
                    five_v_current, five_v_voltage,
                    three_v_three_current, three_v_three_voltage;

void update_3v3() {
  int err = 0;
  struct sensor_value val;

  // Switch to channel 1/3.3V
  val.val1 = 1;
  err = sensor_attr_set(tri_vbus_curr_mon, SENSOR_CHAN_ALL, SENSOR_ATTR_INA3221_SELECTED_CHANNEL, &val);
  if (err < 0)
    LOG_ERR("INA3221 3.3V sensor_attr_set error: %d", err);
  // INA3221 to fetch and average all channels
  err = sensor_sample_fetch_chan(tri_vbus_curr_mon, SENSOR_CHAN_ALL);
  if (err < 0)
    LOG_ERR("INA3221 3.3V sensor_sample_fetch error: %d", err);
  // Get voltage
  err = sensor_channel_get(tri_vbus_curr_mon, SENSOR_CHAN_VOLTAGE, &three_v_three_voltage);
  if (err < 0)
    LOG_ERR("INA3221 3.3V SENSOR_CHAN_VOLTAGE error: %d", err);
  else
    hmi_server_msg.payload.hmi_client_msg.three_v_three_v_bus_voltage = sensor_value_to_float(&three_v_three_voltage);
  // Get current
  err = sensor_channel_get(tri_vbus_curr_mon, SENSOR_CHAN_CURRENT, &three_v_three_current);
  if (err < 0)
    LOG_ERR("INA3221 3.3V SENSOR_CHAN_CURRENT error: %d", err);
  else
    hmi_server_msg.payload.hmi_client_msg.three_v_three_v_bus_current = sensor_value_to_float(&three_v_three_current);
}

void update_5v() {
  int err = 0;
  struct sensor_value val;

  // Switch to channel 2/5V
  val.val1 = 2;
  err = sensor_attr_set(tri_vbus_curr_mon, SENSOR_CHAN_ALL, SENSOR_ATTR_INA3221_SELECTED_CHANNEL, &val);
  if (err < 0)
    LOG_ERR("INA3221 5V sensor_attr_set error: %d", err);
  // INA3221 to fetch and average all channels
  err = sensor_sample_fetch_chan(tri_vbus_curr_mon, SENSOR_CHAN_ALL);
  if (err < 0)
    LOG_ERR("INA3221 5V sensor_sample_fetch error: %d", err);
  // Get voltage
  err = sensor_channel_get(tri_vbus_curr_mon, SENSOR_CHAN_VOLTAGE, &five_v_voltage);
  if (err < 0)
    LOG_ERR("INA3221 5V SENSOR_CHAN_VOLTAGE error: %d", err);
  else
    hmi_server_msg.payload.hmi_client_msg.five_v_bus_voltage = sensor_value_to_float(&five_v_voltage);
  // Get current
  err = sensor_channel_get(tri_vbus_curr_mon, SENSOR_CHAN_CURRENT, &five_v_current);
  if (err < 0)
    LOG_ERR("INA3221 5V SENSOR_CHAN_CURRENT error: %d", err);
  else
    hmi_server_msg.payload.hmi_client_msg.five_v_bus_current = sensor_value_to_float(&five_v_current);
}

void update_12v() {
  int err = 0;
  struct sensor_value val;

  // Switch to channel 3/12V
  val.val1 = 3;
  err = sensor_attr_set(tri_vbus_curr_mon, SENSOR_CHAN_ALL, SENSOR_ATTR_INA3221_SELECTED_CHANNEL, &val);
  if (err < 0)
    LOG_ERR("INA3221 12V sensor_attr_set error: %d", err);
  // INA3221 to fetch and average all channels
  err = sensor_sample_fetch_chan(tri_vbus_curr_mon, SENSOR_CHAN_ALL);
  if (err < 0)
    LOG_ERR("INA3221 12V sensor_sample_fetch error: %d", err);
  // Get voltage
  err = sensor_channel_get(tri_vbus_curr_mon, SENSOR_CHAN_VOLTAGE, &twelve_v_voltage);
  if (err < 0)
    LOG_ERR("INA3221 12V SENSOR_CHAN_VOLTAGE error: %d", err);
  else
    hmi_server_msg.payload.hmi_client_msg.twelve_v_bus_voltage = sensor_value_to_float(&twelve_v_voltage);
  // Get current
  err = sensor_channel_get(tri_vbus_curr_mon, SENSOR_CHAN_CURRENT, &twelve_v_current);
  if (err < 0)
    LOG_ERR("INA3221 12V SENSOR_CHAN_CURRENT error: %d", err);
  else
    hmi_server_msg.payload.hmi_client_msg.twelve_v_bus_current = sensor_value_to_float(&twelve_v_current);
}

void update_fgnd() {
  int err = 0;

  err = sensor_sample_fetch_chan(fused_gnd_curr_mon, SENSOR_CHAN_ALL);
  if (err < 0)
    LOG_ERR("INA226 FUSED_GND sensor_sample_fetch error: %d", err);
  err = sensor_channel_get(fused_gnd_curr_mon, SENSOR_CHAN_VOLTAGE, &fused_gnd_voltage);
  if (err < 0)
    LOG_ERR("INA226 FUSED_GND SENSOR_CHAN_VOLTAGE error: %d", err);
  else
    hmi_server_msg.payload.hmi_client_msg.f_gnd_bus_voltage = sensor_value_to_float(&fused_gnd_voltage);
  err = sensor_channel_get(fused_gnd_curr_mon, SENSOR_CHAN_CURRENT, &fused_gnd_current);
  if (err < 0)
    LOG_ERR("INA226 FUSED_GND SENSOR_CHAN_CURRENT error: %d", err);
  else
    hmi_server_msg.payload.hmi_client_msg.f_gnd_bus_current = sensor_value_to_float(&fused_gnd_current);
}

void current_monitor_thread() {
  while (1) {
    update_3v3();
    update_5v();
    update_12v();
    update_fgnd();
    k_sleep(K_MSEC(500));
  }
}

void init_current_monitors() {
  if (!device_is_ready(fused_gnd_curr_mon))
    LOG_ERR("FUSED_GND INA226 is not ready!");
  else {
    update_fgnd();
    LOG_INF("FUSED_GND Volts: %.3f V", sensor_value_to_double(&fused_gnd_voltage));
    LOG_INF("FUSED_GND Current: %.3f A", sensor_value_to_double(&fused_gnd_current));
    LOG_INF("FUSED_GND Power: %.3f W", sensor_value_to_double(&fused_gnd_power));
  }
  if (!device_is_ready(tri_vbus_curr_mon))
    LOG_ERR("INA3221 is not ready!");
  else {
    update_3v3();
    update_5v();
    update_12v();
    LOG_INF("3.3V Volts: %.3f V", sensor_value_to_double(&three_v_three_voltage));
    LOG_INF("3.3V Current: %.3f A", sensor_value_to_double(&three_v_three_current));
    LOG_INF("5V Volts: %.3f V", sensor_value_to_double(&five_v_voltage));
    LOG_INF("5V Current: %.3f A", sensor_value_to_double(&five_v_current));
    LOG_INF("12V Volts: %.3f V", sensor_value_to_double(&twelve_v_voltage));
    LOG_INF("12V Current: %.3f A", sensor_value_to_double(&twelve_v_current));
  }

  // Start the current monitoring thread
  current_monitor_tid = k_thread_create(&current_monitor_thread_data,
    current_monitor_stack_area, K_THREAD_STACK_SIZEOF(current_monitor_stack_area),
    (k_thread_entry_t)current_monitor_thread, NULL, NULL, NULL,
    K_PRIO_PREEMPT(5),0, K_NO_WAIT);
  k_thread_name_set(current_monitor_tid, "current_monitoring_thread");
}
#endif //INIT_CURRENT_MON_H
```

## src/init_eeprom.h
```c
// MetalHead - Opensource Firmware & Software For The 85V Automatic Stirrup Bender
// Copyright (C) 2025 Connor McMillan (connor@mcmillan.website)
//
// This program is free software: you can redistribute it and/or modify
// it under the terms of the GNU General Public License as published by
// the Free Software Foundation, either version 3 of the License, or
// (at your option) any later version.
//
// This program is distributed in the hope that it will be useful,
// but WITHOUT ANY WARRANTY; without even the implied warranty of
// MERCHANTABILITY or FITNESS FOR A PARTICULAR PURPOSE.  See the
// GNU General Public License for more details.
//
// You should have received a copy of the GNU General Public License
// along with this program.  If not, see <https://www.gnu.org/licenses/>.

#ifndef EEPROM_H
#define EEPROM_H
#include "eeprom_data_map_t.h"

const struct device *eeprom;
struct eeprom_data_map_t eeprom_data;

bool is_valid_private_ip4_address(uint8_t ip[3]) {
  // Class A: 10.0.0.0 through 10.255.255.255 (8)
  // Class B: 172.16.0.0 through 172.31.255.255 (12)
  // Class C: 192.168.0.0 through 192.168.255.255 (16)
  return (ip[0] == 10 ||
    (ip[0] == 172 && ip[1] == 16) ||
    (ip[0] == 192 && ip[1] == 168));
}

bool is_valid_port(uint16_t port) {
  // Only registered user ports
  return (port >= 1024 && port <= 49151);
}

void init_eeprom(){
  int err;
  eeprom = DEVICE_DT_GET(DT_ALIAS(eeprom_0));
  if (!device_is_ready(eeprom))
    LOG_ERR("EEPROM not ready!");

  if (!eeprom)
    LOG_ERR("EEPROM device not found!");

  err = eeprom_read(eeprom, 0, &eeprom_data, sizeof(eeprom_data));

  if (err)
    LOG_ERR("EEPROM read failed!");

  if (eeprom_data.magic_header != 0xDEADBEEF) {
    LOG_WRN("EEPROM magic header not valid!");
    eeprom_data.magic_header = 0xDEADBEEF;
    eeprom_data.boot_count = 0;

    // Serial number format: We need to establish a serial number format + a method to change it
    for (int i = 0; i < sizeof(eeprom_data.serial_number); i++)
      eeprom_data.serial_number[i] = 0; // 0's for now

    eeprom_data.ip_address[0] = 192;
    eeprom_data.ip_address[1] = 168;
    eeprom_data.ip_address[2] = 1;
    eeprom_data.ip_address[3] = 36;

    eeprom_data.subnet_mask[0] = 255;
    eeprom_data.subnet_mask[1] = 255;
    eeprom_data.subnet_mask[2] = 255;
    eeprom_data.subnet_mask[3] = 0;

    // Arduino AG first 3 bytes assigned: A8:61:0A
    eeprom_data.mac_address[0] = 0xA8;
    eeprom_data.mac_address[1] = 0x61;
    eeprom_data.mac_address[2] = 0x0A;
    eeprom_data.mac_address[3] = sys_rand8_get();
    eeprom_data.mac_address[4] = sys_rand8_get();
    eeprom_data.mac_address[5] = sys_rand8_get();

    eeprom_data.port = 9214;

    eeprom_data.hmi_ip_address[0] = 192;
    eeprom_data.hmi_ip_address[1] = 168;
    eeprom_data.hmi_ip_address[2] = 1;
    eeprom_data.hmi_ip_address[3] = 184;

    eeprom_data.hmi_port = 43669;

    // Write default values into eeprom
    err = eeprom_write(eeprom, 0, &eeprom_data, sizeof(eeprom_data));
    if (err)
      LOG_ERR("EEPROM init write failed!");
    else
      LOG_INF("EEPROM initialized!");
  } else {

    // Increase our boot count
    eeprom_data.boot_count++;

    // Commit boot_count increase into eeprom
    eeprom_write(eeprom, 0, &eeprom_data, sizeof(eeprom_data));

    LOG_INF("EEPROM: Boot Counter: %d", eeprom_data.boot_count);
    LOG_INF("EEPROM: Serial Number: %d%d%d%d%d%d%d%d%d%d%d%d%d%d", eeprom_data.serial_number[0],
      eeprom_data.serial_number[1], eeprom_data.serial_number[2], eeprom_data.serial_number[3],
      eeprom_data.serial_number[4], eeprom_data.serial_number[5], eeprom_data.serial_number[6],
      eeprom_data.serial_number[7], eeprom_data.serial_number[8], eeprom_data.serial_number[9],
      eeprom_data.serial_number[10], eeprom_data.serial_number[11], eeprom_data.serial_number[12],
      eeprom_data.serial_number[13]);
    LOG_INF("EEPROM: MAC Address: %02X:%02X:%02X:%02X:%02X:%02X", eeprom_data.mac_address[0],
      eeprom_data.mac_address[1], eeprom_data.mac_address[2],
      eeprom_data.mac_address[3], eeprom_data.mac_address[4],
      eeprom_data.mac_address[5]);
    LOG_INF("EEPROM: IP Address: %d.%d.%d.%d", eeprom_data.ip_address[0], eeprom_data.ip_address[1],
      eeprom_data.ip_address[2], eeprom_data.ip_address[3]);
    LOG_INF("EEPROM: Subnet Mask: %d.%d.%d.%d", eeprom_data.subnet_mask[0], eeprom_data.subnet_mask[1],
      eeprom_data.subnet_mask[2], eeprom_data.subnet_mask[3]);
    LOG_INF("EEPROM: Port: %d", eeprom_data.port);
    LOG_INF("EEPROM: HMI IP Address: %d.%d.%d.%d", eeprom_data.hmi_ip_address[0],
      eeprom_data.hmi_ip_address[1], eeprom_data.hmi_ip_address[2], eeprom_data.hmi_ip_address[3]);
    LOG_INF("EEPROM: HMI Port: %d", eeprom_data.hmi_port);
  }
}
#endif //EEPROM_H
```
